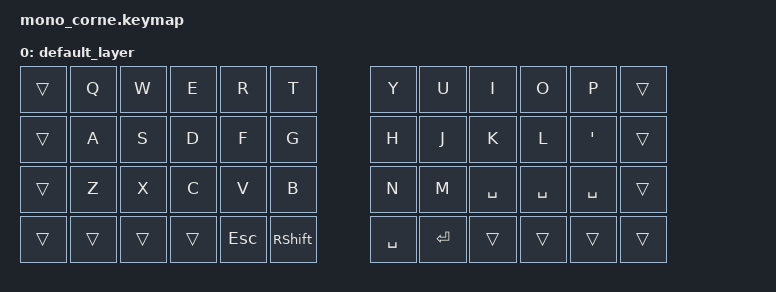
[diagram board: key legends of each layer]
#include <behaviors.dtsi>
#include <dt-bindings/zmk/keys.h>

/ {
    keymap {
        compatible = "zmk,keymap";

        default_layer {

            bindings = <
    &trans &kp Q   &kp W   &kp E   &kp R   &kp T           &kp Y   &kp U   &kp I   &kp O   &kp P &trans
    &trans &kp A   &kp S   &kp D   &kp F   &kp G           &kp H   &kp J   &kp K   &kp L   &kp APOS &trans
    &trans &kp Z   &kp X   &kp C   &kp V   &kp B           &kp N   &kp M   &kp SPACE   &kp SPACE   &kp SPACE &trans
    &trans &trans  &trans  &trans  &kp ESC &kp RSHFT       &kp SPACE &kp RET &trans &trans &trans &trans
            >;

        };
    };
};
